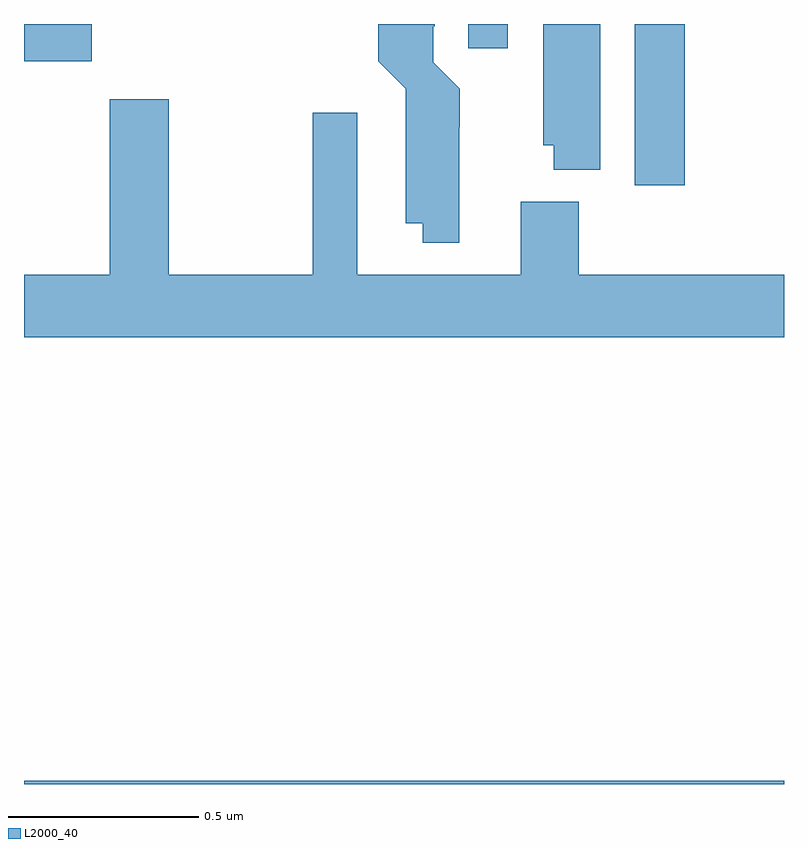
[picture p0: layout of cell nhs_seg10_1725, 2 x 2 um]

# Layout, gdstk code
import gdstk
lib = gdstk.Library(unit=1e-6, precision=1e-09)
def R(c, l, rs):  # rectangles x0, y0, x1, y1
    for r in rs: c.add(gdstk.rectangle(r[:2], r[2:], *l))
def P(c, l, *ps):  # polygons
    for p in ps: c.add(gdstk.Polygon(p, *l))
L2000_40 = (2000, 40)

nhs_seg10_1725 = lib.new_cell('nhs_seg10_1725')
R(nhs_seg10_1725, L2000_40, [(132,1272.5,134,1272.508), (133.607,1274.076,133.739,1274.5), (132,1274.402,132.178,1274.5), (133.169,1274.436,133.273,1274.5)])
P(nhs_seg10_1725, L2000_40, [(133.146,1274.228),(133.147,1274.228),(133.147,1274.33),(133.077,1274.4),(133.077,1274.494),(133.081,1274.494),(133.081,1274.5),(132.932,1274.5),(132.932,1274.402),(133.004,1274.33),(133.004,1273.976),(133.049,1273.976),(133.049,1273.925),(133.146,1273.925)],
  [(133.516,1274.5),(133.367,1274.5),(133.367,1274.181),(133.394,1274.181),(133.394,1274.117),(133.516,1274.117)],
  [(134,1273.84),(133.46,1273.84),(133.46,1274.032),(133.307,1274.032),(133.307,1273.84),(132.877,1273.84),(132.877,1274.266),(132.76,1274.266),(132.76,1273.84),(132.381,1273.84),(132.381,1274.302),(132.226,1274.302),(132.226,1273.84),(132,1273.84),(132,1273.676),(134,1273.676)])

lib.write_gds('nhs_seg10_1725.gds')
